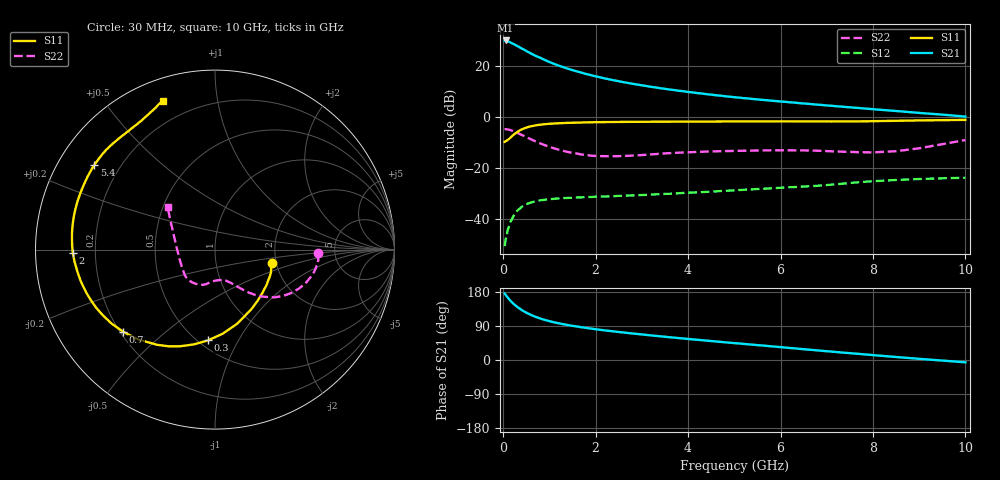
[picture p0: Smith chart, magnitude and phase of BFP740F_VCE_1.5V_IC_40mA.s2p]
! Infineon Technologies  Discrete & RF Semiconductors
! BFP740F
! VCE =  1.5 V,  IC =  40 mA
! Common Emitter S-Parameters:  Oct 2012
# GHz  S  MA  R  50
!  f  S11  S21  S12  S22
! GHz  MAG  ANG  MAG  ANG  MAG  ANG  MAG  ANG
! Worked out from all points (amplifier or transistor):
!   99 points, 30 MHz to 10 GHz, reference 50 ohm
!   highest |S21| = 29.9 dB at 50 MHz (marker M1)
!   |S21| within 3 dB of that: start of sweep to 385.2 MHz
!   unconditionally stable (mu >= 1): start of sweep to 203.7 MHz; 2.019 GHz to end of sweep
!   at 350 MHz: K = 0.73, MSG = 31.6 dB, |S12| = -35.9 dB
!   at 3.5 GHz: K = 1.40, MAG = 16.8 dB, |S12| = -30.0 dB
!   at 10 GHz: K = 1.74, MAG = 6.9 dB, |S12| = -23.7 dB
!   S11 on the Smith chart (normalised r, x): 30 MHz: 1.89, -0.33; 300 MHz: 0.56, -0.76; 700 MHz: 0.21, -0.37; 2 GHz: 0.12, -0.01; 5.4 GHz: 0.11, +0.31; 10 GHz: 0.10, +0.71
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0.03  0.3266 -13.6  31.03 175.5  0.003 50.2  0.5755 -2.1
0.05  0.3368 -21.9  31.28 172.5  0.004 44.2  0.5764 -4.8
0.1  0.3578 -42.3  30.22 164.4  0.0065 59.1  0.5712 -10.6
0.15  0.3908 -59.5  28.75 157.3  0.0087 57.6  0.5555 -15.8
0.2  0.4311 -73.3  27.34 150.9  0.0107 57.9  0.5369 -20.7
0.3  0.5069 -94.3  24.49 140.5  0.0147 53.0  0.4933 -29.0
0.4  0.5728 -109.9  21.71 131.9  0.0176 46.3  0.4469 -35.7
0.5  0.6212 -121.4  19.44 124.9  0.0199 42.7  0.4043 -41.0
0.6  0.6596 -130.7  17.42 118.9  0.0213 38.9  0.3673 -45.3
0.7  0.6863 -138.2  15.68 113.9  0.0227 35.5  0.334 -48.8
0.9  0.7239 -149.5  12.99 105.7  0.0242 31.4  0.2821 -54.2
1.1  0.7466 -157.8  10.93 99.5  0.0253 28.7  0.2447 -58.4
1.4  0.7681 -166.7  8.77 92.2  0.0263 26.7  0.2076 -64.1
1.7  0.781 -173.3  7.325 86.3  0.027 26.0  0.1852 -69.8
2  0.792 -178.6  6.226 81.2  0.0278 25.8  0.1733 -76.8
2.6  0.8021 173.2  4.794 72.6  0.0291 27.0  0.1733 -89.7
3.4  0.8099 164.1  3.648 62.5  0.0311 29.6  0.1919 -101.9
5.1  0.8197 147.5  2.396 43.6  0.0374 34.0  0.2184 -119.3
5.4  0.8216 144.8  2.246 40.4  0.0387 34.5  0.2208 -122.9
6.7  0.8189 132.3  1.775 26.4  0.0449 36.4  0.2207 -138.9
8.5  0.8434 115.4  1.311 7.9  0.0589 32.3  0.2146 176.5
10  0.879 109.1  1.019 -6.1  0.0652 25.7  0.3553 138.1
